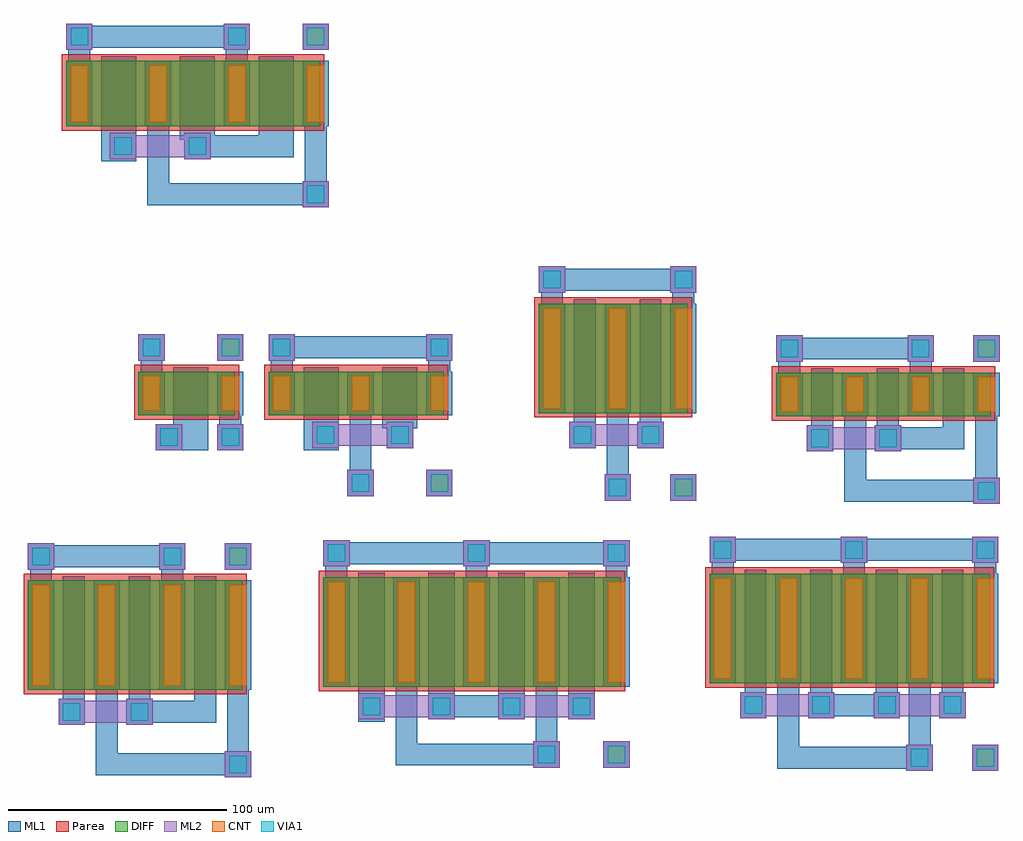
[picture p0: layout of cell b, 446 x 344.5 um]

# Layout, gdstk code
import gdstk
lib = gdstk.Library(unit=1e-6, precision=1e-09)
def R(c, l, rs):  # rectangles x0, y0, x1, y1
    for r in rs: c.add(gdstk.rectangle(r[:2], r[2:], *l))
def A(c, l, x, y, w, h, nx, ny, dx, dy):  # array of equal rectangles
    R(c, l, [(x+i*dx, y+j*dy, x+i*dx+w, y+j*dy+h) for i in range(nx) for j in range(ny)])
DIFF = (3, 0)
CNT = (7, 0)
ML1 = (8, 0)
VIA1 = (9, 0)
ML2 = (10, 0)
Parea = (18, 0)

pch_4 = lib.new_cell('Pch$4')
R(pch_4, DIFF, [(0,16,44,36)])
R(pch_4, CNT, [(38,43,46,51)])
R(pch_4, ML1, [(8,0,20,12), (36,0,48,12), (0,41,12,53), (36,41,48,53), (36,41,48,53)])
R(pch_4, VIA1, [(10,2,18,10), (38,2,46,10), (2,43,10,51), (38,43,46,51)])
R(pch_4, ML2, [(8,0,20,12), (36,0,48,12), (0,41,12,53), (36,41,48,53)])
R(pch_4, Parea, [(-2,14,46,39)])
pch_4.add(gdstk.FlexPath([(6,16),(6,36)], 12, ends="flush", simple_path=True, layer=8, datatype=0))  # ML1
pch_4.add(gdstk.FlexPath([(24,6),(24,36)], 16, ends=(6, 2), simple_path=True, layer=8, datatype=0))  # ML1
pch_4.add(gdstk.FlexPath([(42,16),(42,36)], 12, ends="flush", simple_path=True, layer=8, datatype=0))  # ML1
pch_4.add(gdstk.FlexPath([(6,37),(6,47)], 10, ends="extended", simple_path=True, layer=8, datatype=0))  # ML1
pch_4.add(gdstk.FlexPath([(42,10),(42,14)], 10, ends="extended", simple_path=True, layer=8, datatype=0))  # ML1
pch_4.add(gdstk.FlexPath([(6,16),(6,36)], 8, ends=(-2, -2), simple_path=True, layer=7, datatype=0))  # CNT
pch_4.add(gdstk.FlexPath([(42,16),(42,36)], 8, ends=(-2, -2), simple_path=True, layer=7, datatype=0))  # CNT

pch_8 = lib.new_cell('Pch$8')
R(pch_8, DIFF, [(0,16,98,66)])
R(pch_8, CNT, [(92,73,100,81)])
R(pch_8, ML1, [(90,-24,102,-12), (14,0,26,12), (45,0,57,12), (0,71,12,83), (60,71,72,83), (90,71,102,83), (90,71,102,83)])
R(pch_8, VIA1, [(92,-22,100,-14), (16,2,24,10), (47,2,55,10), (2,73,10,81), (62,73,70,81), (92,73,100,81)])
R(pch_8, ML2, [(90,-24,102,-12), (14,0,26,12), (45,0,57,12), (0,71,12,83), (60,71,72,83), (90,71,102,83)])
R(pch_8, Parea, [(-2,14,100,69)])
pch_8.add(gdstk.FlexPath([(6,16),(6,66)], 12, ends="flush", simple_path=True, layer=8, datatype=0))  # ML1
pch_8.add(gdstk.FlexPath([(21,6),(21,66)], 10, ends=(6, 2), simple_path=True, layer=8, datatype=0))  # ML1
pch_8.add(gdstk.FlexPath([(36,16),(36,66)], 12, ends="flush", simple_path=True, layer=8, datatype=0))  # ML1
pch_8.add(gdstk.FlexPath([(51,16),(51,66)], 10, ends=(6, 2), simple_path=True, layer=8, datatype=0))  # ML1
pch_8.add(gdstk.FlexPath([(66,16),(66,66)], 12, ends="flush", simple_path=True, layer=8, datatype=0))  # ML1
pch_8.add(gdstk.FlexPath([(81,16),(81,66)], 10, ends=(6, 2), simple_path=True, layer=8, datatype=0))  # ML1
pch_8.add(gdstk.FlexPath([(47,6),(86,6)], 10, ends="flush", simple_path=True, layer=8, datatype=0))  # ML1
pch_8.add(gdstk.FlexPath([(96,16),(96,66)], 12, ends="flush", simple_path=True, layer=8, datatype=0))  # ML1
pch_8.add(gdstk.FlexPath([(6,67),(6,77)], 10, ends="extended", simple_path=True, layer=8, datatype=0))  # ML1
pch_8.add(gdstk.FlexPath([(36,-14),(36,14)], 10, ends="extended", simple_path=True, layer=8, datatype=0))  # ML1
pch_8.add(gdstk.FlexPath([(66,67),(66,77)], 10, ends="extended", simple_path=True, layer=8, datatype=0))  # ML1
pch_8.add(gdstk.FlexPath([(6,77),(66,77)], 10, ends="extended", simple_path=True, layer=8, datatype=0))  # ML1
pch_8.add(gdstk.FlexPath([(96,-14),(96,14)], 10, ends="extended", simple_path=True, layer=8, datatype=0))  # ML1
pch_8.add(gdstk.FlexPath([(36,-18),(96,-18)], 10, ends="extended", simple_path=True, layer=8, datatype=0))  # ML1
pch_8.add(gdstk.FlexPath([(17,6),(51,6)], 10, ends="flush", simple_path=True, layer=10, datatype=0))  # ML2
pch_8.add(gdstk.FlexPath([(6,16),(6,66)], 8, ends=(-2, -2), simple_path=True, layer=7, datatype=0))  # CNT
pch_8.add(gdstk.FlexPath([(36,16),(36,66)], 8, ends=(-2, -2), simple_path=True, layer=7, datatype=0))  # CNT
pch_8.add(gdstk.FlexPath([(66,16),(66,66)], 8, ends=(-2, -2), simple_path=True, layer=7, datatype=0))  # CNT
pch_8.add(gdstk.FlexPath([(96,16),(96,66)], 8, ends=(-2, -2), simple_path=True, layer=7, datatype=0))  # CNT

pch_10 = lib.new_cell('Pch$10')
R(pch_10, DIFF, [(0,16,68,66)])
R(pch_10, CNT, [(62,-22,70,-14)])
R(pch_10, ML1, [(30,-24,42,-12), (60,-24,72,-12), (60,-24,72,-12), (14,0,26,12), (45,0,57,12), (0,71,12,83), (60,71,72,83)])
R(pch_10, VIA1, [(32,-22,40,-14), (62,-22,70,-14), (16,2,24,10), (47,2,55,10), (2,73,10,81), (62,73,70,81)])
R(pch_10, ML2, [(30,-24,42,-12), (60,-24,72,-12), (14,0,26,12), (45,0,57,12), (0,71,12,83), (60,71,72,83)])
R(pch_10, Parea, [(-2,14,70,69)])
pch_10.add(gdstk.FlexPath([(6,16),(6,66)], 12, ends="flush", simple_path=True, layer=8, datatype=0))  # ML1
pch_10.add(gdstk.FlexPath([(21,6),(21,66)], 10, ends=(6, 2), simple_path=True, layer=8, datatype=0))  # ML1
pch_10.add(gdstk.FlexPath([(36,16),(36,66)], 12, ends="flush", simple_path=True, layer=8, datatype=0))  # ML1
pch_10.add(gdstk.FlexPath([(51,16),(51,66)], 10, ends=(6, 2), simple_path=True, layer=8, datatype=0))  # ML1
pch_10.add(gdstk.FlexPath([(66,16),(66,66)], 12, ends="flush", simple_path=True, layer=8, datatype=0))  # ML1
pch_10.add(gdstk.FlexPath([(6,67),(6,77)], 10, ends="extended", simple_path=True, layer=8, datatype=0))  # ML1
pch_10.add(gdstk.FlexPath([(36,-14),(36,14)], 10, ends="extended", simple_path=True, layer=8, datatype=0))  # ML1
pch_10.add(gdstk.FlexPath([(66,67),(66,77)], 10, ends="extended", simple_path=True, layer=8, datatype=0))  # ML1
pch_10.add(gdstk.FlexPath([(6,77),(66,77)], 10, ends="extended", simple_path=True, layer=8, datatype=0))  # ML1
pch_10.add(gdstk.FlexPath([(17,6),(51,6)], 10, ends="flush", simple_path=True, layer=10, datatype=0))  # ML2
pch_10.add(gdstk.FlexPath([(6,16),(6,66)], 8, ends=(-2, -2), simple_path=True, layer=7, datatype=0))  # CNT
pch_10.add(gdstk.FlexPath([(36,16),(36,66)], 8, ends=(-2, -2), simple_path=True, layer=7, datatype=0))  # CNT
pch_10.add(gdstk.FlexPath([(66,16),(66,66)], 8, ends=(-2, -2), simple_path=True, layer=7, datatype=0))  # CNT

pch_11 = lib.new_cell('Pch$11')
R(pch_11, DIFF, [(0,16,136,66)])
R(pch_11, CNT, [(130,-19,138,-11)])
A(pch_11, ML1, 16, 1, 12, 12, 4, 1, 32, 0)
A(pch_11, ML1, 0, 71, 12, 12, 3, 1, 64, 0)
R(pch_11, ML1, [(96,-21,108,-9), (128,-21,140,-9), (128,-21,140,-9)])
A(pch_11, VIA1, 18, 3, 8, 8, 4, 1, 32, 0)
A(pch_11, VIA1, 2, 73, 8, 8, 3, 1, 64, 0)
R(pch_11, VIA1, [(98,-19,106,-11), (130,-19,138,-11)])
A(pch_11, ML2, 16, 1, 12, 12, 4, 1, 32, 0)
A(pch_11, ML2, 0, 71, 12, 12, 3, 1, 64, 0)
R(pch_11, ML2, [(96,-21,108,-9), (128,-21,140,-9)])
R(pch_11, Parea, [(-2,14,138,69)])
pch_11.add(gdstk.FlexPath([(6,16),(6,66)], 12, ends="flush", simple_path=True, layer=8, datatype=0))  # ML1
pch_11.add(gdstk.FlexPath([(22,6),(22,66)], 12, ends=(6, 2), simple_path=True, layer=8, datatype=0))  # ML1
pch_11.add(gdstk.FlexPath([(38,16),(38,66)], 12, ends="flush", simple_path=True, layer=8, datatype=0))  # ML1
pch_11.add(gdstk.FlexPath([(54,16),(54,66)], 12, ends=(6, 2), simple_path=True, layer=8, datatype=0))  # ML1
pch_11.add(gdstk.FlexPath([(70,16),(70,66)], 12, ends="flush", simple_path=True, layer=8, datatype=0))  # ML1
pch_11.add(gdstk.FlexPath([(86,16),(86,66)], 12, ends=(6, 2), simple_path=True, layer=8, datatype=0))  # ML1
pch_11.add(gdstk.FlexPath([(50,7),(92,7)], 10, ends="flush", simple_path=True, layer=8, datatype=0))  # ML1
pch_11.add(gdstk.FlexPath([(102,16),(102,66)], 12, ends="flush", simple_path=True, layer=8, datatype=0))  # ML1
pch_11.add(gdstk.FlexPath([(118,16),(118,66)], 12, ends=(6, 2), simple_path=True, layer=8, datatype=0))  # ML1
pch_11.add(gdstk.FlexPath([(134,16),(134,66)], 12, ends="flush", simple_path=True, layer=8, datatype=0))  # ML1
pch_11.add(gdstk.FlexPath([(6,67),(6,77)], 10, ends="extended", simple_path=True, layer=8, datatype=0))  # ML1
pch_11.add(gdstk.FlexPath([(38,-11),(38,14)], 10, ends="extended", simple_path=True, layer=8, datatype=0))  # ML1
pch_11.add(gdstk.FlexPath([(70,67),(70,77)], 10, ends="extended", simple_path=True, layer=8, datatype=0))  # ML1
pch_11.add(gdstk.FlexPath([(6,77),(70,77)], 10, ends="extended", simple_path=True, layer=8, datatype=0))  # ML1
pch_11.add(gdstk.FlexPath([(102,-11),(102,14)], 10, ends="extended", simple_path=True, layer=8, datatype=0))  # ML1
pch_11.add(gdstk.FlexPath([(38,-15),(102,-15)], 10, ends="extended", simple_path=True, layer=8, datatype=0))  # ML1
pch_11.add(gdstk.FlexPath([(134,67),(134,77)], 10, ends="extended", simple_path=True, layer=8, datatype=0))  # ML1
pch_11.add(gdstk.FlexPath([(70,77),(134,77)], 10, ends="extended", simple_path=True, layer=8, datatype=0))  # ML1
pch_11.add(gdstk.FlexPath([(18,7),(54,7)], 10, ends="flush", simple_path=True, layer=10, datatype=0))  # ML2
pch_11.add(gdstk.FlexPath([(82,7),(118,7)], 10, ends="flush", simple_path=True, layer=10, datatype=0))  # ML2
pch_11.add(gdstk.FlexPath([(6,16),(6,66)], 8, ends=(-2, -2), simple_path=True, layer=7, datatype=0))  # CNT
pch_11.add(gdstk.FlexPath([(38,16),(38,66)], 8, ends=(-2, -2), simple_path=True, layer=7, datatype=0))  # CNT
pch_11.add(gdstk.FlexPath([(70,16),(70,66)], 8, ends=(-2, -2), simple_path=True, layer=7, datatype=0))  # CNT
pch_11.add(gdstk.FlexPath([(102,16),(102,66)], 8, ends=(-2, -2), simple_path=True, layer=7, datatype=0))  # CNT
pch_11.add(gdstk.FlexPath([(134,16),(134,66)], 8, ends=(-2, -2), simple_path=True, layer=7, datatype=0))  # CNT

pch_12 = lib.new_cell('Pch$12')
R(pch_12, DIFF, [(0,16,80,36)])
R(pch_12, CNT, [(74,-19,82,-11)])
R(pch_12, ML1, [(36,-21,48,-9), (72,-21,84,-9), (72,-21,84,-9), (20,1,32,13), (54,1,66,13), (0,41,12,53), (72,41,84,53)])
R(pch_12, VIA1, [(38,-19,46,-11), (74,-19,82,-11), (22,3,30,11), (56,3,64,11), (2,43,10,51), (74,43,82,51)])
R(pch_12, ML2, [(36,-21,48,-9), (72,-21,84,-9), (20,1,32,13), (54,1,66,13), (0,41,12,53), (72,41,84,53)])
R(pch_12, Parea, [(-2,14,82,39)])
pch_12.add(gdstk.FlexPath([(6,16),(6,36)], 12, ends="flush", simple_path=True, layer=8, datatype=0))  # ML1
pch_12.add(gdstk.FlexPath([(24,6),(24,36)], 16, ends=(6, 2), simple_path=True, layer=8, datatype=0))  # ML1
pch_12.add(gdstk.FlexPath([(42,16),(42,36)], 12, ends="flush", simple_path=True, layer=8, datatype=0))  # ML1
pch_12.add(gdstk.FlexPath([(60,16),(60,36)], 16, ends=(6, 2), simple_path=True, layer=8, datatype=0))  # ML1
pch_12.add(gdstk.FlexPath([(78,16),(78,36)], 12, ends="flush", simple_path=True, layer=8, datatype=0))  # ML1
pch_12.add(gdstk.FlexPath([(6,37),(6,47)], 10, ends="extended", simple_path=True, layer=8, datatype=0))  # ML1
pch_12.add(gdstk.FlexPath([(42,-11),(42,14)], 10, ends="extended", simple_path=True, layer=8, datatype=0))  # ML1
pch_12.add(gdstk.FlexPath([(78,37),(78,47)], 10, ends="extended", simple_path=True, layer=8, datatype=0))  # ML1
pch_12.add(gdstk.FlexPath([(6,47),(78,47)], 10, ends="extended", simple_path=True, layer=8, datatype=0))  # ML1
pch_12.add(gdstk.FlexPath([(20,7),(60,7)], 10, ends="flush", simple_path=True, layer=10, datatype=0))  # ML2
pch_12.add(gdstk.FlexPath([(6,16),(6,36)], 8, ends=(-2, -2), simple_path=True, layer=7, datatype=0))  # CNT
pch_12.add(gdstk.FlexPath([(42,16),(42,36)], 8, ends=(-2, -2), simple_path=True, layer=7, datatype=0))  # CNT
pch_12.add(gdstk.FlexPath([(78,16),(78,36)], 8, ends=(-2, -2), simple_path=True, layer=7, datatype=0))  # CNT

pch_13 = lib.new_cell('Pch$13')
R(pch_13, DIFF, [(0,16,98,36)])
R(pch_13, CNT, [(92,43,100,51)])
R(pch_13, ML1, [(90,-24,102,-12), (14,0,26,12), (45,0,57,12), (0,41,12,53), (60,41,72,53), (90,41,102,53), (90,41,102,53)])
R(pch_13, VIA1, [(92,-22,100,-14), (16,2,24,10), (47,2,55,10), (2,43,10,51), (62,43,70,51), (92,43,100,51)])
R(pch_13, ML2, [(90,-24,102,-12), (14,0,26,12), (45,0,57,12), (0,41,12,53), (60,41,72,53), (90,41,102,53)])
R(pch_13, Parea, [(-2,14,100,39)])
pch_13.add(gdstk.FlexPath([(6,16),(6,36)], 12, ends="flush", simple_path=True, layer=8, datatype=0))  # ML1
pch_13.add(gdstk.FlexPath([(21,6),(21,36)], 10, ends=(6, 2), simple_path=True, layer=8, datatype=0))  # ML1
pch_13.add(gdstk.FlexPath([(36,16),(36,36)], 12, ends="flush", simple_path=True, layer=8, datatype=0))  # ML1
pch_13.add(gdstk.FlexPath([(51,16),(51,36)], 10, ends=(6, 2), simple_path=True, layer=8, datatype=0))  # ML1
pch_13.add(gdstk.FlexPath([(66,16),(66,36)], 12, ends="flush", simple_path=True, layer=8, datatype=0))  # ML1
pch_13.add(gdstk.FlexPath([(81,16),(81,36)], 10, ends=(6, 2), simple_path=True, layer=8, datatype=0))  # ML1
pch_13.add(gdstk.FlexPath([(47,6),(86,6)], 10, ends="flush", simple_path=True, layer=8, datatype=0))  # ML1
pch_13.add(gdstk.FlexPath([(96,16),(96,36)], 12, ends="flush", simple_path=True, layer=8, datatype=0))  # ML1
pch_13.add(gdstk.FlexPath([(6,37),(6,47)], 10, ends="extended", simple_path=True, layer=8, datatype=0))  # ML1
pch_13.add(gdstk.FlexPath([(36,-14),(36,14)], 10, ends="extended", simple_path=True, layer=8, datatype=0))  # ML1
pch_13.add(gdstk.FlexPath([(66,37),(66,47)], 10, ends="extended", simple_path=True, layer=8, datatype=0))  # ML1
pch_13.add(gdstk.FlexPath([(6,47),(66,47)], 10, ends="extended", simple_path=True, layer=8, datatype=0))  # ML1
pch_13.add(gdstk.FlexPath([(96,-14),(96,14)], 10, ends="extended", simple_path=True, layer=8, datatype=0))  # ML1
pch_13.add(gdstk.FlexPath([(36,-18),(96,-18)], 10, ends="extended", simple_path=True, layer=8, datatype=0))  # ML1
pch_13.add(gdstk.FlexPath([(17,6),(51,6)], 10, ends="flush", simple_path=True, layer=10, datatype=0))  # ML2
pch_13.add(gdstk.FlexPath([(6,16),(6,36)], 8, ends=(-2, -2), simple_path=True, layer=7, datatype=0))  # CNT
pch_13.add(gdstk.FlexPath([(36,16),(36,36)], 8, ends=(-2, -2), simple_path=True, layer=7, datatype=0))  # CNT
pch_13.add(gdstk.FlexPath([(66,16),(66,36)], 8, ends=(-2, -2), simple_path=True, layer=7, datatype=0))  # CNT
pch_13.add(gdstk.FlexPath([(96,16),(96,36)], 8, ends=(-2, -2), simple_path=True, layer=7, datatype=0))  # CNT

pch_14 = lib.new_cell('Pch$14')
R(pch_14, DIFF, [(0,16,128,66)])
R(pch_14, CNT, [(122,-22,130,-14)])
A(pch_14, ML1, 45, 0, 12, 12, 3, 1, 30, 0)
A(pch_14, ML1, 0, 71, 12, 12, 3, 1, 60, 0)
R(pch_14, ML1, [(90,-24,102,-12), (120,-24,132,-12), (120,-24,132,-12), (14,0,26,12)])
A(pch_14, VIA1, 47, 2, 8, 8, 3, 1, 30, 0)
A(pch_14, VIA1, 2, 73, 8, 8, 3, 1, 60, 0)
R(pch_14, VIA1, [(92,-22,100,-14), (122,-22,130,-14), (16,2,24,10)])
A(pch_14, ML2, 45, 0, 12, 12, 3, 1, 30, 0)
A(pch_14, ML2, 0, 71, 12, 12, 3, 1, 60, 0)
R(pch_14, ML2, [(90,-24,102,-12), (120,-24,132,-12), (14,0,26,12)])
R(pch_14, Parea, [(-2,14,130,69)])
pch_14.add(gdstk.FlexPath([(6,16),(6,66)], 12, ends="flush", simple_path=True, layer=8, datatype=0))  # ML1
pch_14.add(gdstk.FlexPath([(21,6),(21,66)], 10, ends=(6, 2), simple_path=True, layer=8, datatype=0))  # ML1
pch_14.add(gdstk.FlexPath([(36,16),(36,66)], 12, ends="flush", simple_path=True, layer=8, datatype=0))  # ML1
pch_14.add(gdstk.FlexPath([(51,16),(51,66)], 10, ends=(6, 2), simple_path=True, layer=8, datatype=0))  # ML1
pch_14.add(gdstk.FlexPath([(66,16),(66,66)], 12, ends="flush", simple_path=True, layer=8, datatype=0))  # ML1
pch_14.add(gdstk.FlexPath([(81,16),(81,66)], 10, ends=(6, 2), simple_path=True, layer=8, datatype=0))  # ML1
pch_14.add(gdstk.FlexPath([(47,6),(86,6)], 10, ends="flush", simple_path=True, layer=8, datatype=0))  # ML1
pch_14.add(gdstk.FlexPath([(96,16),(96,66)], 12, ends="flush", simple_path=True, layer=8, datatype=0))  # ML1
pch_14.add(gdstk.FlexPath([(111,16),(111,66)], 10, ends=(6, 2), simple_path=True, layer=8, datatype=0))  # ML1
pch_14.add(gdstk.FlexPath([(126,16),(126,66)], 12, ends="flush", simple_path=True, layer=8, datatype=0))  # ML1
pch_14.add(gdstk.FlexPath([(6,67),(6,77)], 10, ends="extended", simple_path=True, layer=8, datatype=0))  # ML1
pch_14.add(gdstk.FlexPath([(36,-14),(36,14)], 10, ends="extended", simple_path=True, layer=8, datatype=0))  # ML1
pch_14.add(gdstk.FlexPath([(66,67),(66,77)], 10, ends="extended", simple_path=True, layer=8, datatype=0))  # ML1
pch_14.add(gdstk.FlexPath([(6,77),(66,77)], 10, ends="extended", simple_path=True, layer=8, datatype=0))  # ML1
pch_14.add(gdstk.FlexPath([(96,-14),(96,14)], 10, ends="extended", simple_path=True, layer=8, datatype=0))  # ML1
pch_14.add(gdstk.FlexPath([(36,-18),(96,-18)], 10, ends="extended", simple_path=True, layer=8, datatype=0))  # ML1
pch_14.add(gdstk.FlexPath([(126,67),(126,77)], 10, ends="extended", simple_path=True, layer=8, datatype=0))  # ML1
pch_14.add(gdstk.FlexPath([(66,77),(126,77)], 10, ends="extended", simple_path=True, layer=8, datatype=0))  # ML1
pch_14.add(gdstk.FlexPath([(17,6),(51,6)], 10, ends="flush", simple_path=True, layer=10, datatype=0))  # ML2
pch_14.add(gdstk.FlexPath([(77,6),(111,6)], 10, ends="flush", simple_path=True, layer=10, datatype=0))  # ML2
pch_14.add(gdstk.FlexPath([(6,16),(6,66)], 8, ends=(-2, -2), simple_path=True, layer=7, datatype=0))  # CNT
pch_14.add(gdstk.FlexPath([(36,16),(36,66)], 8, ends=(-2, -2), simple_path=True, layer=7, datatype=0))  # CNT
pch_14.add(gdstk.FlexPath([(66,16),(66,66)], 8, ends=(-2, -2), simple_path=True, layer=7, datatype=0))  # CNT
pch_14.add(gdstk.FlexPath([(96,16),(96,66)], 8, ends=(-2, -2), simple_path=True, layer=7, datatype=0))  # CNT
pch_14.add(gdstk.FlexPath([(126,16),(126,66)], 8, ends=(-2, -2), simple_path=True, layer=7, datatype=0))  # CNT

pch_15 = lib.new_cell('Pch$15')
R(pch_15, DIFF, [(0,16,116,46)])
R(pch_15, CNT, [(110,53,118,61)])
R(pch_15, ML1, [(108,-21,120,-9), (20,1,32,13), (54,1,66,13), (0,51,12,63), (72,51,84,63), (108,51,120,63), (108,51,120,63)])
R(pch_15, VIA1, [(110,-19,118,-11), (22,3,30,11), (56,3,64,11), (2,53,10,61), (74,53,82,61), (110,53,118,61)])
R(pch_15, ML2, [(108,-21,120,-9), (20,1,32,13), (54,1,66,13), (0,51,12,63), (72,51,84,63), (108,51,120,63)])
R(pch_15, Parea, [(-2,14,118,49)])
pch_15.add(gdstk.FlexPath([(6,16),(6,46)], 12, ends="flush", simple_path=True, layer=8, datatype=0))  # ML1
pch_15.add(gdstk.FlexPath([(24,6),(24,46)], 16, ends=(6, 2), simple_path=True, layer=8, datatype=0))  # ML1
pch_15.add(gdstk.FlexPath([(42,16),(42,46)], 12, ends="flush", simple_path=True, layer=8, datatype=0))  # ML1
pch_15.add(gdstk.FlexPath([(60,16),(60,46)], 16, ends=(6, 2), simple_path=True, layer=8, datatype=0))  # ML1
pch_15.add(gdstk.FlexPath([(78,16),(78,46)], 12, ends="flush", simple_path=True, layer=8, datatype=0))  # ML1
pch_15.add(gdstk.FlexPath([(96,16),(96,46)], 16, ends=(6, 2), simple_path=True, layer=8, datatype=0))  # ML1
pch_15.add(gdstk.FlexPath([(56,7),(104,7)], 10, ends="flush", simple_path=True, layer=8, datatype=0))  # ML1
pch_15.add(gdstk.FlexPath([(114,16),(114,46)], 12, ends="flush", simple_path=True, layer=8, datatype=0))  # ML1
pch_15.add(gdstk.FlexPath([(6,47),(6,57)], 10, ends="extended", simple_path=True, layer=8, datatype=0))  # ML1
pch_15.add(gdstk.FlexPath([(42,-11),(42,14)], 10, ends="extended", simple_path=True, layer=8, datatype=0))  # ML1
pch_15.add(gdstk.FlexPath([(78,47),(78,57)], 10, ends="extended", simple_path=True, layer=8, datatype=0))  # ML1
pch_15.add(gdstk.FlexPath([(6,57),(78,57)], 10, ends="extended", simple_path=True, layer=8, datatype=0))  # ML1
pch_15.add(gdstk.FlexPath([(114,-11),(114,14)], 10, ends="extended", simple_path=True, layer=8, datatype=0))  # ML1
pch_15.add(gdstk.FlexPath([(42,-15),(114,-15)], 10, ends="extended", simple_path=True, layer=8, datatype=0))  # ML1
pch_15.add(gdstk.FlexPath([(20,7),(60,7)], 10, ends="flush", simple_path=True, layer=10, datatype=0))  # ML2
pch_15.add(gdstk.FlexPath([(6,16),(6,46)], 8, ends=(-2, -2), simple_path=True, layer=7, datatype=0))  # CNT
pch_15.add(gdstk.FlexPath([(42,16),(42,46)], 8, ends=(-2, -2), simple_path=True, layer=7, datatype=0))  # CNT
pch_15.add(gdstk.FlexPath([(78,16),(78,46)], 8, ends=(-2, -2), simple_path=True, layer=7, datatype=0))  # CNT
pch_15.add(gdstk.FlexPath([(114,16),(114,46)], 8, ends=(-2, -2), simple_path=True, layer=7, datatype=0))  # CNT

c_b = lib.new_cell('b')
c_b.add(gdstk.Reference(pch_4, (-33,-22)))
c_b.add(gdstk.Reference(pch_8, (-83.5,-147.5)))
c_b.add(gdstk.Reference(pch_10, (150,-21)))
c_b.add(gdstk.Reference(pch_11, (51.5,-146)))
c_b.add(gdstk.Reference(pch_12, (26.5,-22)))
c_b.add(gdstk.Reference(pch_13, (258.5,-22.5)))
c_b.add(gdstk.Reference(pch_14, (228,-144.5)))
c_b.add(gdstk.Reference(pch_15, (-66,110)))

lib.write_gds('b.gds')
